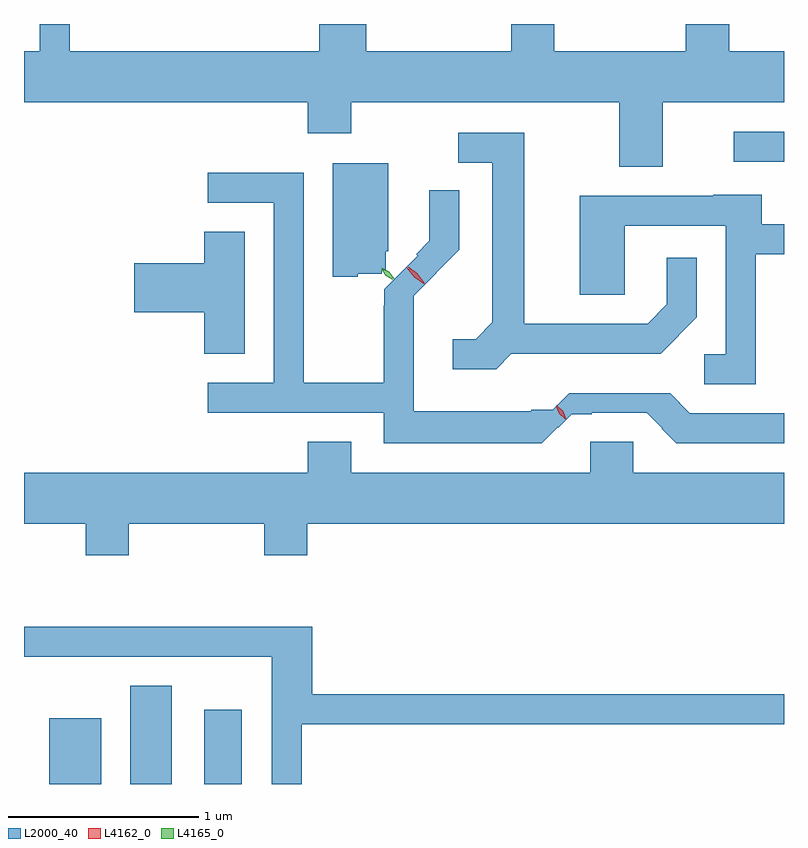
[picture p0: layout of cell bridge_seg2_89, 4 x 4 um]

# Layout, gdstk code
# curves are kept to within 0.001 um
import gdstk
lib = gdstk.Library(unit=1e-6, precision=1e-09)
def R(c, l, rs):  # rectangles x0, y0, x1, y1
    for r in rs: c.add(gdstk.rectangle(r[:2], r[2:], *l))
def P(c, l, *ps):  # polygons
    for p in ps: c.add(gdstk.Polygon(p, *l))
L2000_40 = (2000, 40)
L4162_0 = (4162, 0)
L4165_0 = (4165, 0)

bridge_seg2_89 = lib.new_cell('bridge_seg2_89')
R(bridge_seg2_89, L2000_40, [(1220.141,1073.587,1220.414,1073.934), (1220.566,1073.587,1220.784,1074.104), (1220.956,1073.587,1221.154,1073.979), (1223.743,1076.861,1224.007,1077.019)])
P(bridge_seg2_89, L2000_40, [(1223.369,1077.176),(1224.007,1077.176),(1224.007,1077.444),(1223.719,1077.444),(1223.719,1077.587),(1223.491,1077.587),(1223.491,1077.444),(1222.799,1077.444),(1222.799,1077.587),(1222.571,1077.587),(1222.571,1077.444),(1221.809,1077.444),(1221.809,1077.587),(1221.561,1077.587),(1221.561,1077.444),(1220.249,1077.444),(1220.249,1077.587),(1220.091,1077.587),(1220.091,1077.444),(1220.007,1077.444),(1220.007,1077.176),(1221.501,1077.176),(1221.501,1077.011),(1221.729,1077.011),(1221.729,1077.176),(1223.141,1077.176),(1223.141,1076.836),(1223.369,1076.836)],
  [(1222.572,1075.851),(1223.357,1075.851),(1223.549,1076.044),(1223.549,1076.358),(1223.391,1076.358),(1223.391,1076.112),(1223.289,1076.009),(1222.639,1076.009),(1222.639,1077.014),(1222.293,1077.014),(1222.293,1076.856),(1222.471,1076.856),(1222.471,1076.017),(1222.384,1075.929),(1222.263,1075.929),(1222.263,1075.771),(1222.492,1075.771)],
  [(1221.763,1076.273),(1221.89,1076.273),(1221.89,1076.29),(1221.91,1076.29),(1221.91,1076.39),(1221.923,1076.39),(1221.923,1076.49),(1221.924,1076.49),(1221.924,1076.854),(1221.631,1076.854),(1221.631,1076.256),(1221.763,1076.256)],
  [(1222.816,1075.464),(1222.818,1075.463),(1222.889,1075.534),(1222.995,1075.534),(1222.995,1075.541),(1223.284,1075.541),(1223.366,1075.459),(1223.363,1075.457),(1223.439,1075.381),(1224.007,1075.381),(1224.007,1075.539),(1223.512,1075.539),(1223.407,1075.644),(1222.876,1075.644),(1222.79,1075.558),(1222.677,1075.558),(1222.677,1075.549),(1222.059,1075.549),(1222.059,1076.158),(1222.299,1076.398),(1222.299,1076.713),(1222.141,1076.713),(1222.141,1076.445),(1222.072,1076.375),(1222.079,1076.368),(1221.902,1076.192),(1221.901,1075.699),(1221.479,1075.699),(1221.479,1076.804),(1220.973,1076.804),(1220.973,1076.646),(1221.321,1076.646),(1221.321,1075.699),(1220.973,1075.699),(1220.973,1075.541),(1221.901,1075.541),(1221.901,1075.381),(1222.733,1075.381)],
  [(1223.859,1076.376),(1224.007,1076.376),(1224.007,1076.534),(1223.889,1076.534),(1223.889,1076.689),(1223.635,1076.689),(1223.635,1076.684),(1222.931,1076.684),(1222.931,1076.161),(1223.169,1076.161),(1223.169,1076.526),(1223.701,1076.526),(1223.701,1075.849),(1223.588,1075.849),(1223.588,1075.691),(1223.859,1075.691)],
  [(1221.169,1076.494),(1220.956,1076.494),(1220.956,1076.329),(1220.586,1076.329),(1220.586,1076.071),(1220.956,1076.071),(1220.956,1075.851),(1221.169,1075.851)],
  [(1220.559,1074.956),(1221.271,1074.956),(1221.271,1074.791),(1221.499,1074.791),(1221.499,1074.956),(1224.007,1074.956),(1224.007,1075.224),(1223.214,1075.224),(1223.214,1075.389),(1222.986,1075.389),(1222.986,1075.224),(1221.729,1075.224),(1221.729,1075.389),(1221.501,1075.389),(1221.501,1075.224),(1220.007,1075.224),(1220.007,1074.956),(1220.331,1074.956),(1220.331,1074.791),(1220.559,1074.791)],
  [(1221.469,1073.901),(1224.007,1073.901),(1224.007,1074.059),(1221.524,1074.059),(1221.524,1074.414),(1220.007,1074.414),(1220.007,1074.256),(1221.311,1074.256),(1221.311,1073.587),(1221.469,1073.587)])
P(bridge_seg2_89, L4162_0, [(1222.86,1075.505),(1222.859,1075.506),(1222.827,1075.538),(1222.811,1075.581),(1222.811,1075.582),(1222.812,1075.581),(1222.844,1075.549),(1222.86,1075.506)],
  [(1222.114,1076.216),(1222.06,1076.255),(1222.018,1076.308),(1222.018,1076.308),(1222.019,1076.308),(1222.073,1076.269),(1222.115,1076.216),(1222.115,1076.216)],
  [(1222.853,1075.509),(1222.823,1075.535),(1222.809,1075.572),(1222.809,1075.573),(1222.81,1075.572),(1222.84,1075.546),(1222.854,1075.51),(1222.854,1075.509)],
  [(1222.115,1076.222),(1222.064,1076.26),(1222.026,1076.311),(1222.026,1076.312),(1222.026,1076.312),(1222.078,1076.274),(1222.116,1076.222),(1222.116,1076.222)])
P(bridge_seg2_89, L4165_0, [(1221.954,1076.246),(1221.916,1076.268),(1221.889,1076.304),(1221.889,1076.305),(1221.89,1076.305),(1221.929,1076.283),(1221.955,1076.247),(1221.955,1076.246)],
  [(1221.948,1076.242),(1221.911,1076.263),(1221.888,1076.298),(1221.888,1076.298),(1221.888,1076.298),(1221.925,1076.277),(1221.948,1076.243),(1221.948,1076.242)])

lib.write_gds('bridge_seg2_89.gds')
